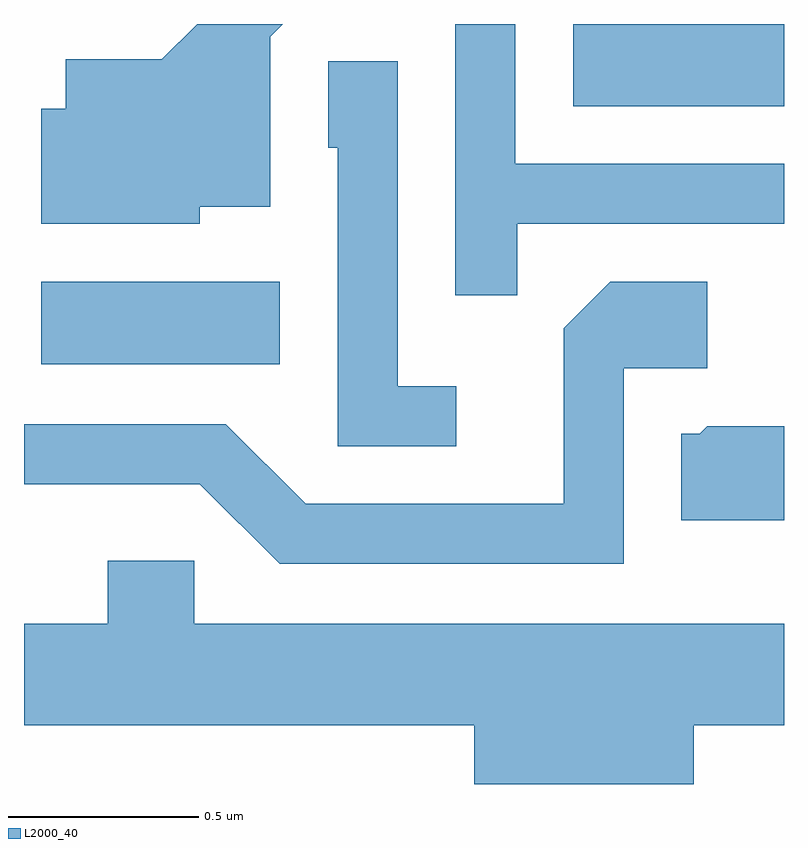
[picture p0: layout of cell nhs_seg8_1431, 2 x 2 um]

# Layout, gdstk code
import gdstk
lib = gdstk.Library(unit=1e-6, precision=1e-09)
def R(c, l, rs):  # rectangles x0, y0, x1, y1
    for r in rs: c.add(gdstk.rectangle(r[:2], r[2:], *l))
def P(c, l, *ps):  # polygons
    for p in ps: c.add(gdstk.Polygon(p, *l))
L2000_40 = (2000, 40)

nhs_seg8_1431 = lib.new_cell('nhs_seg8_1431')
R(nhs_seg8_1431, L2000_40, [(195.656,1868.446,196.284,1868.664), (197.056,1869.126,197.611,1869.342)])
P(nhs_seg8_1431, L2000_40, [(196.074,1868.861),(196.259,1868.861),(196.259,1869.309),(196.292,1869.342),(196.067,1869.342),(195.974,1869.249),(195.721,1869.249),(195.721,1869.119),(195.656,1869.119),(195.656,1868.816),(196.074,1868.816)],
  [(196.909,1868.816),(197.611,1868.816),(197.611,1868.974),(196.904,1868.974),(196.904,1869.342),(196.746,1869.342),(196.746,1868.628),(196.909,1868.628)],
  [(196.748,1868.389),(196.594,1868.389),(196.594,1869.244),(196.411,1869.244),(196.411,1869.016),(196.436,1869.016),(196.436,1868.231),(196.748,1868.231)],
  [(197.189,1868.436),(197.409,1868.436),(197.409,1868.664),(197.154,1868.664),(197.031,1868.542),(197.031,1868.079),(196.352,1868.079),(196.142,1868.289),(195.611,1868.289),(195.611,1868.131),(196.074,1868.131),(196.284,1867.921),(197.189,1867.921)],
  [(197.611,1868.284),(197.409,1868.284),(197.389,1868.264),(197.341,1868.264),(197.341,1868.036),(197.611,1868.036)],
  [(197.374,1867.496),(197.611,1867.496),(197.611,1867.764),(196.059,1867.764),(196.059,1867.929),(195.831,1867.929),(195.831,1867.764),(195.611,1867.764),(195.611,1867.496),(196.796,1867.496),(196.796,1867.342),(197.374,1867.342)])

lib.write_gds('nhs_seg8_1431.gds')
